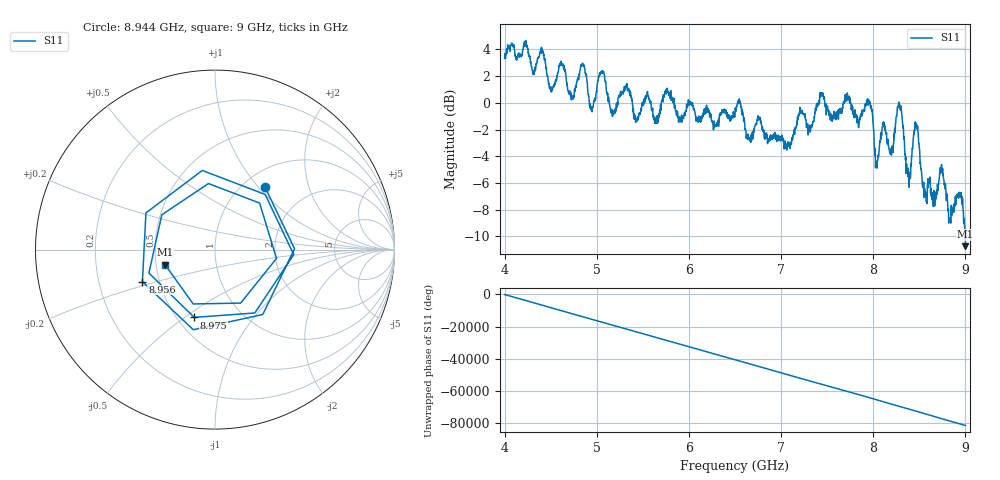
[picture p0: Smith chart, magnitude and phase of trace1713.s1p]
! Created with skrf 1.8.0 (http://scikit-rf.org).
# Hz S RI R 50.0
!freq ReS11 ImS11
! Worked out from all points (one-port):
!   1601 points, 4 GHz to 9 GHz, reference 50 ohm
!   lowest |S11| = -10.7 dB at 9 GHz (marker M1), VSWR 1.82, Z = 27.9 - j5.09 ohm
!   |S11| at or under -10 dB: 8.997816 GHz to end of sweep
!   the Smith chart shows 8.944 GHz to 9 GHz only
!   S11 on the Smith chart (normalised r, x): 8.944 GHz: 1.24, +1.09; 8.956 GHz: 0.40, -0.18; 8.975 GHz: 0.61, -0.54; 9 GHz: 0.56, -0.10
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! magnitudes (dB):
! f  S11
! 4 GHz  3.3
! 4.403 GHz  4.1
! 4.509 GHz  0.8
! 4.625 GHz  2.9
! 4.728 GHz  0.4
! 4.853 GHz  2.9
! 4.941 GHz  -0.3
! 5.053 GHz  2.2
! 5.162 GHz  -0.5
! 5.25 GHz  0.6
! 5.875 GHz  -0.6
! 6.5 GHz  -0.9
! 7.125 GHz  -2.7
! 7.444 GHz  0.7
! 7.75 GHz  0.3
! 7.962 GHz  0.1
! 8.041 GHz  -4.9
! 8.112 GHz  -1.4
! 8.197 GHz  -3.9
! 8.288 GHz  -0.2
! 8.375 GHz  -5.5
! 8.462 GHz  -1.5
! 8.559 GHz  -6.5
! 8.741 GHz  -4.6
! 8.944 GHz  -7.0
! 8.956 GHz  -7.1
! 8.975 GHz  -8.1
! 9 GHz  -10.7
